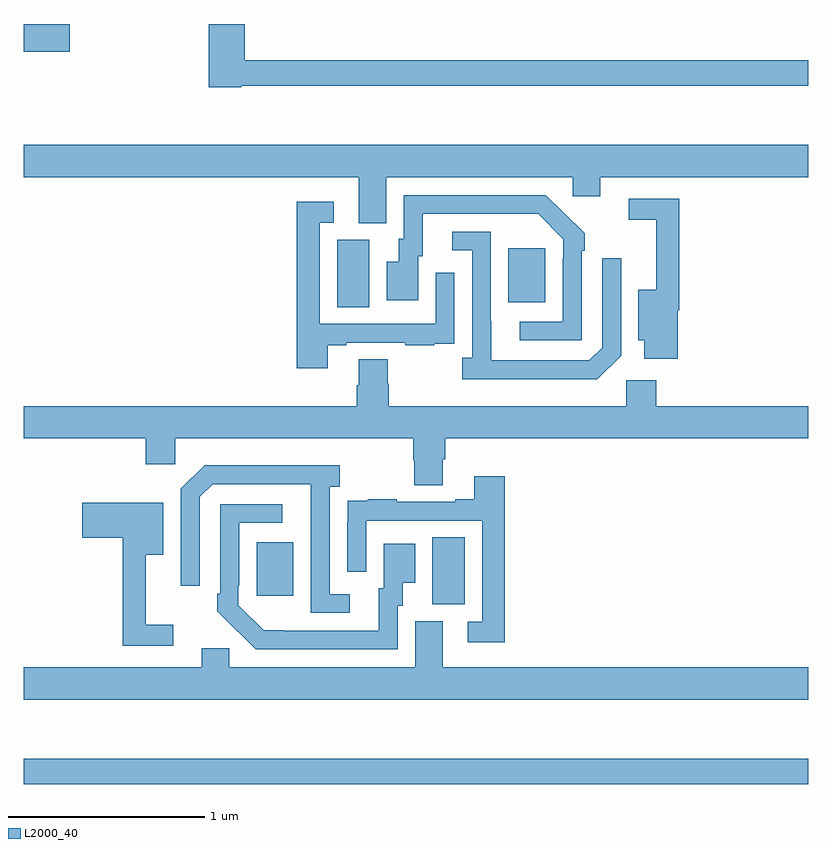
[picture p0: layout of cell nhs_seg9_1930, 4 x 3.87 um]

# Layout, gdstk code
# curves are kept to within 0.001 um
import gdstk
lib = gdstk.Library(unit=1e-6, precision=1e-09)
def R(c, l, rs):  # rectangles x0, y0, x1, y1
    for r in rs: c.add(gdstk.rectangle(r[:2], r[2:], *l))
def P(c, l, *ps):  # polygons
    for p in ps: c.add(gdstk.Polygon(p, *l))
L2000_40 = (2000, 40)

nhs_seg9_1930 = lib.new_cell('nhs_seg9_1930')
R(nhs_seg9_1930, L2000_40, [(219,1226.626,223,1226.755), (221.084,1227.541,221.248,1227.884), (220.187,1227.585,220.375,1227.859), (220.598,1229.056,220.762,1229.4), (221.471,1229.081,221.659,1229.356), (219,1230.358,219.235,1230.5)])
P(nhs_seg9_1930, L2000_40, [(220.11,1230.186),(223,1230.186),(223,1230.314),(220.127,1230.314),(220.127,1230.5),(219.944,1230.5),(219.944,1230.178),(220.11,1230.178)],
  [(220.849,1229.72),(221.799,1229.72),(221.799,1229.622),(221.938,1229.622),(221.938,1229.72),(223,1229.72),(223,1229.884),(219,1229.884),(219,1229.72),(220.709,1229.72),(220.709,1229.485),(220.849,1229.485)],
  [(221.844,1229.345),(221.859,1229.345),(221.859,1229.433),(221.662,1229.628),(220.938,1229.628),(220.938,1229.406),(220.913,1229.406),(220.913,1229.287),(220.85,1229.287),(220.85,1229.091),(221.011,1229.091),(221.011,1229.316),(221.035,1229.316),(221.035,1229.532),(221.623,1229.532),(221.751,1229.403),(221.751,1229.303),(221.748,1229.303),(221.748,1228.983),(221.529,1228.983),(221.529,1228.887),(221.844,1228.887)],
  [(222.335,1229.042),(222.341,1229.042),(222.341,1229.61),(222.084,1229.61),(222.084,1229.502),(222.224,1229.502),(222.224,1229.146),(222.134,1229.146),(222.134,1228.889),(222.164,1228.889),(222.164,1228.794),(222.335,1228.794)],
  [(220.549,1228.863),(220.645,1228.863),(220.645,1228.875),(220.945,1228.875),(220.945,1228.863),(221.093,1228.863),(221.093,1228.869),(221.195,1228.869),(221.195,1228.978),(221.196,1228.978),(221.196,1229.233),(221.1,1229.233),(221.1,1228.971),(220.509,1228.971),(220.509,1229.487),(220.582,1229.487),(220.582,1229.593),(220.393,1229.593),(220.393,1228.746),(220.549,1228.746)],
  [(222.045,1228.809),(222.045,1229.305),(221.949,1229.305),(221.949,1228.851),(221.883,1228.785),(221.383,1228.785),(221.382,1229.442),(221.184,1229.442),(221.184,1229.346),(221.286,1229.346),(221.286,1228.798),(221.235,1228.798),(221.235,1228.688),(221.924,1228.688)],
  [(221.137,1228.282),(221.15,1228.282),(221.15,1228.388),(223,1228.388),(223,1228.552),(222.224,1228.552),(222.224,1228.684),(222.072,1228.684),(222.072,1228.552),(220.862,1228.552),(220.862,1228.665),(220.857,1228.665),(220.857,1228.79),(220.709,1228.79),(220.709,1228.658),(220.697,1228.658),(220.697,1228.552),(219,1228.552),(219,1228.388),(219.623,1228.388),(219.623,1228.257),(219.774,1228.257),(219.774,1228.388),(220.985,1228.388),(220.985,1228.275),(220.99,1228.275),(220.99,1228.15),(221.137,1228.15)],
  [(220.663,1227.594),(220.56,1227.594),(220.56,1228.142),(220.612,1228.142),(220.612,1228.252),(219.922,1228.252),(219.801,1228.131),(219.801,1227.636),(219.897,1227.636),(219.897,1228.089),(219.963,1228.155),(220.463,1228.155),(220.464,1227.498),(220.663,1227.498)],
  [(221.453,1228.195),(221.297,1228.195),(221.297,1228.078),(221.201,1228.078),(221.201,1228.065),(220.901,1228.065),(220.901,1228.078),(220.753,1228.078),(220.753,1228.071),(220.651,1228.071),(220.651,1227.962),(220.65,1227.962),(220.65,1227.708),(220.746,1227.708),(220.746,1227.969),(221.337,1227.969),(221.337,1227.453),(221.265,1227.453),(221.265,1227.348),(221.453,1227.348)],
  [(219.763,1227.439),(219.623,1227.439),(219.623,1227.794),(219.712,1227.794),(219.712,1228.059),(219.3,1228.059),(219.3,1227.881),(219.505,1227.881),(219.505,1227.33),(219.763,1227.33)],
  [(220.908,1227.534),(220.933,1227.534),(220.933,1227.653),(220.996,1227.653),(220.996,1227.85),(220.835,1227.85),(220.835,1227.624),(220.811,1227.624),(220.811,1227.408),(220.224,1227.409),(220.095,1227.537),(220.095,1227.637),(220.098,1227.637),(220.098,1227.957),(220.318,1227.957),(220.318,1228.053),(220.002,1228.053),(220.002,1227.595),(219.987,1227.595),(219.987,1227.507),(220.184,1227.312),(220.908,1227.312)],
  [(223,1227.22),(221.137,1227.22),(221.137,1227.456),(220.997,1227.456),(220.997,1227.22),(220.047,1227.22),(220.047,1227.318),(219.908,1227.318),(219.908,1227.22),(219,1227.22),(219,1227.056),(223,1227.056)])

lib.write_gds('nhs_seg9_1930.gds')
